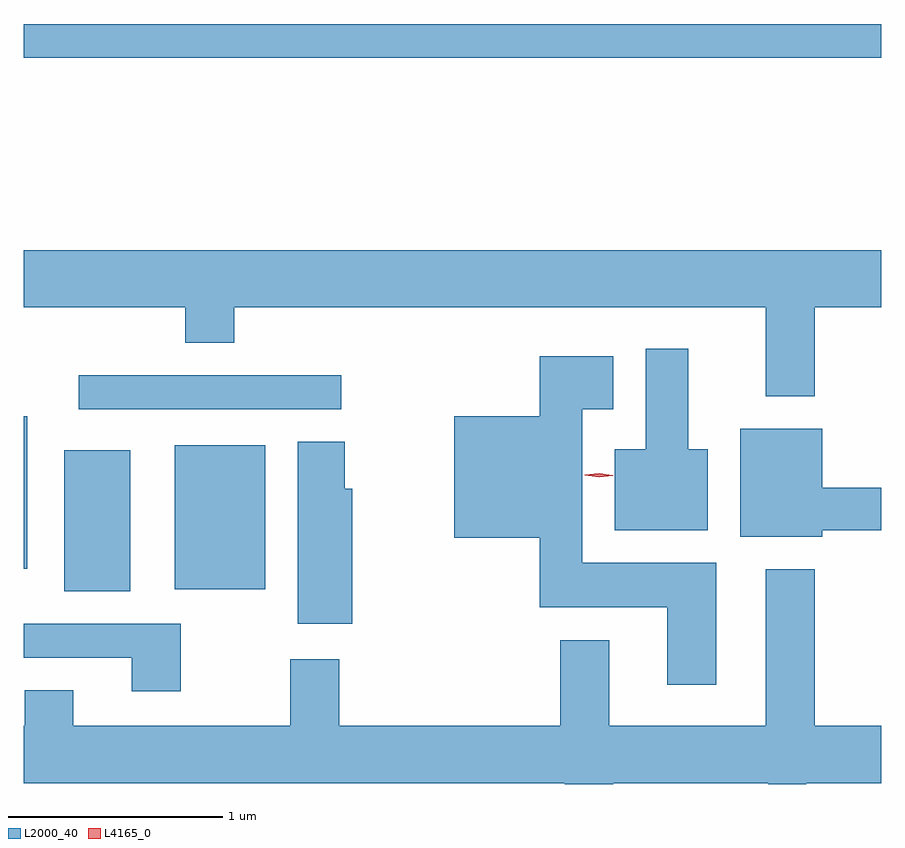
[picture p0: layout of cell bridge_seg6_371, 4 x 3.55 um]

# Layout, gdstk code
import gdstk
lib = gdstk.Library(unit=1e-6, precision=1e-09)
def R(c, l, rs):  # rectangles x0, y0, x1, y1
    for r in rs: c.add(gdstk.rectangle(r[:2], r[2:], *l))
def P(c, l, *ps):  # polygons
    for p in ps: c.add(gdstk.Polygon(p, *l))
L2000_40 = (2000, 40)
L4165_0 = (4165, 0)

bridge_seg6_371 = lib.new_cell('bridge_seg6_371')
R(bridge_seg6_371, L2000_40, [(977.866,1617.531,978.174,1618.189), (978.381,1617.541,978.804,1618.214), (977.678,1617.636,977.694,1618.349), (977.933,1618.381,979.158,1618.539), (977.678,1620.021,981.678,1620.179)])
P(bridge_seg6_371, L2000_40, [(981.369,1618.856),(981.678,1618.856),(981.678,1619.124),(977.678,1619.124),(977.678,1618.856),(978.431,1618.856),(978.431,1618.691),(978.659,1618.691),(978.659,1618.856),(981.141,1618.856),(981.141,1618.441),(981.369,1618.441)],
  [(980.869,1618.194),(980.779,1618.194),(980.779,1618.664),(980.581,1618.664),(980.581,1618.194),(980.436,1618.194),(980.436,1617.816),(980.869,1617.816)],
  [(980.909,1617.664),(980.284,1617.664),(980.284,1618.381),(980.429,1618.381),(980.429,1618.629),(980.086,1618.629),(980.086,1618.349),(979.686,1618.349),(979.686,1617.781),(980.086,1617.781),(980.086,1617.456),(980.681,1617.456),(980.681,1617.096),(980.909,1617.096)],
  [(981.404,1617.816),(981.678,1617.816),(981.678,1618.014),(981.404,1618.014),(981.404,1618.289),(981.021,1618.289),(981.021,1617.786),(981.404,1617.786)],
  [(979.209,1618.009),(979.174,1618.009),(979.174,1618.229),(978.956,1618.229),(978.956,1617.381),(979.209,1617.381)],
  [(980.429,1616.636),(981.151,1616.636),(981.151,1616.632),(981.329,1616.632),(981.329,1616.636),(981.678,1616.636),(981.678,1616.904),(981.369,1616.904),(981.369,1617.634),(981.141,1617.634),(981.141,1616.904),(980.409,1616.904),(980.409,1617.304),(980.181,1617.304),(980.181,1616.904),(979.149,1616.904),(979.149,1617.214),(978.921,1617.214),(978.921,1616.904),(977.909,1616.904),(977.909,1617.069),(977.681,1617.069),(977.681,1616.904),(977.678,1616.904),(977.678,1616.636),(980.201,1616.636),(980.201,1616.632),(980.429,1616.632)],
  [(978.409,1617.379),(977.678,1617.379),(977.678,1617.221),(978.181,1617.221),(978.181,1617.066),(978.409,1617.066)])
P(bridge_seg6_371, L4165_0, [(980.362,1618.063),(980.296,1618.074),(980.296,1618.074),(980.296,1618.075),(980.362,1618.083),(980.427,1618.072),(980.428,1618.072),(980.427,1618.071)])

lib.write_gds('bridge_seg6_371.gds')
